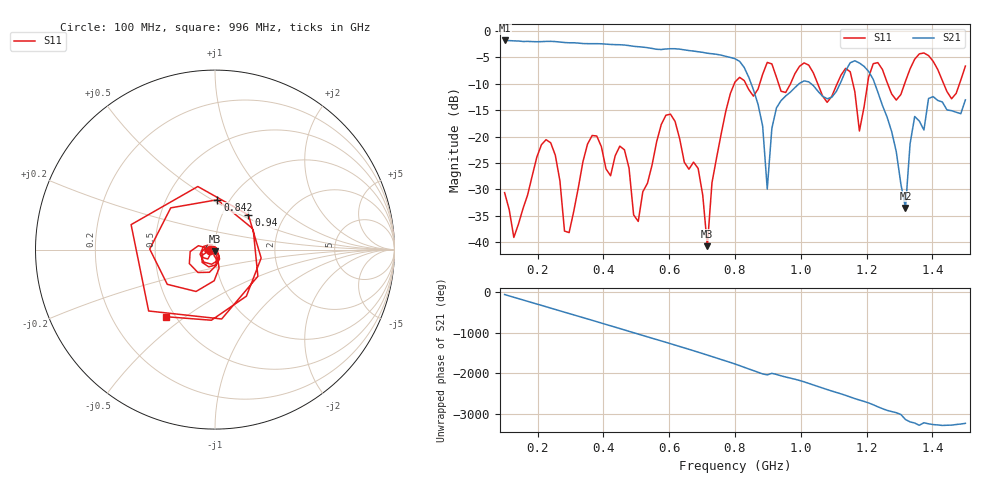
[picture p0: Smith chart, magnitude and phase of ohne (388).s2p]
! NanoVNA-App
! Date: 2025-09-25 14:23:49
! Start: 100MHz Stop: 1,5GHz Points: 101
! S-Parameter data: F S11 S21 S12 S22
# Hz S RI R 50
!  Frequency  S11_Real  S11_Imag  S21_Real  S21_Imag  S12_Real  S12_Imag  S22_Real  S22_Imag
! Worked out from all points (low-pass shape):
!   101 points, 100 MHz to 1.5 GHz, reference 50 ohm
!   highest |S21| = -1.79 dB at 100 MHz (marker M1); lowest = -33.5 dB at 1.318 GHz (marker M2)
!   |S21| within 3 dB of the highest: start of sweep to 771.1 MHz
!   lowest |S11| = -40.8 dB at 716 MHz (marker M3), VSWR 1.02, Z = 49.7 - j0.869 ohm
!   |S11| at or under -10 dB: start of sweep to 797.8 MHz; 832.9 MHz to 875.1 MHz (42.14 MHz wide, 4.93 % of centre); 1.051 GHz to 1.11 GHz (58.93 MHz wide, 5.45 % of centre) (the widest 3 of 7)
!   S12 and S22 are empty: the file has one direction only
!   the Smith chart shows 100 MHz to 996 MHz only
!   S11 on the Smith chart (normalised r, x): 100 MHz: 0.94, -0.01; 842 MHz: 0.88, +0.53; 940 MHz: 1.32, +0.55; 996 MHz: 0.45, -0.42
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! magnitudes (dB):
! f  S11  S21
! 100 MHz  -30.6  -1.8
! 128 MHz  -39.1  -1.9
! 226 MHz  -20.6  -2.0
! 296 MHz  -38.2  -2.2
! 338 MHz  -24.8  -2.4
! 464 MHz  -22.5  -2.7
! 506 MHz  -36.1  -3.0
! 576 MHz  -17.7  -3.5
! 688 MHz  -26.0  -3.9
! 716 MHz  -40.8  -4.2
! 800 MHz  -9.7  -5.3
! 842 MHz  -11.1  -8.8
! 898 MHz  -6.0  -30.0
! 940 MHz  -11.4  -13.2
! 996 MHz  -6.7  -9.9
! 1.038 GHz  -7.9  -10.3
! 1.178 GHz  -19.0  -6.1
! 1.22 GHz  -6.2  -9.2
! 1.276 GHz  -11.9  -19.1
! 1.318 GHz  -9.5  -33.5
! 1.346 GHz  -5.3  -16.2
! 1.5 GHz  -6.7  -13.1
